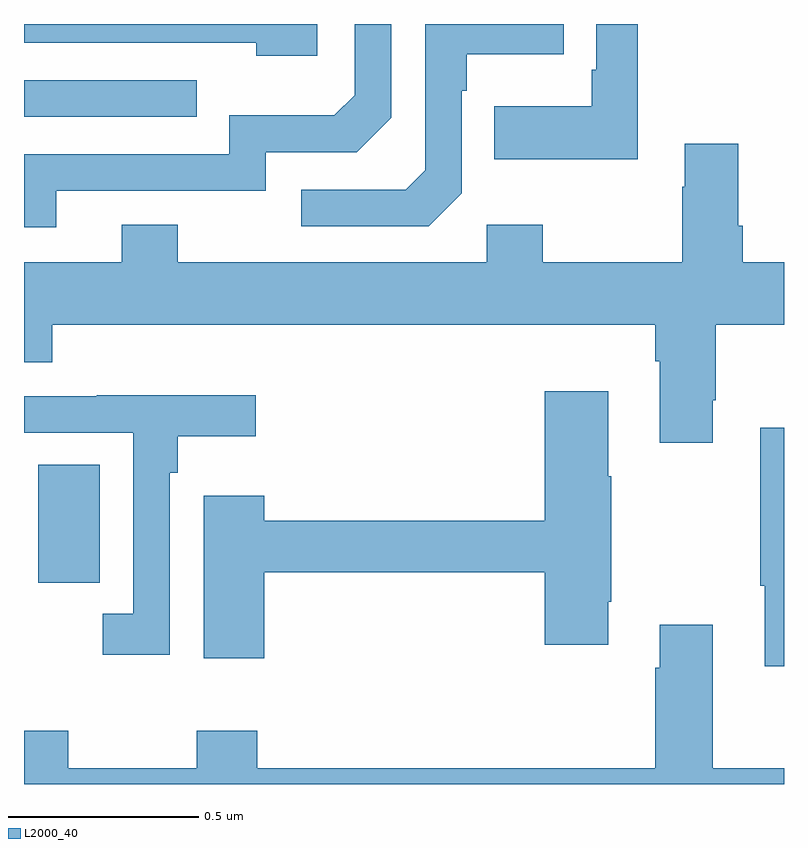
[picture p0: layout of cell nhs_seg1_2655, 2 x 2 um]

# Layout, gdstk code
import gdstk
lib = gdstk.Library(unit=1e-6, precision=1e-09)
def R(c, l, rs):  # rectangles x0, y0, x1, y1
    for r in rs: c.add(gdstk.rectangle(r[:2], r[2:], *l))
def P(c, l, *ps):  # polygons
    for p in ps: c.add(gdstk.Polygon(p, *l))
L2000_40 = (2000, 40)

nhs_seg1_2655 = lib.new_cell('nhs_seg1_2655')
R(nhs_seg1_2655, L2000_40, [(144.038,541.728,144.199,542.039), (144,542.955,144.455,543.051)])
P(nhs_seg1_2655, L2000_40, [(145.152,542.754),(145.152,543.023),(145.165,543.023),(145.165,543.119),(145.421,543.119),(145.421,543.199),(145.056,543.199),(145.056,542.814),(145.005,542.763),(144.729,542.763),(144.729,542.667),(145.065,542.667)],
  [(144.085,542.76),(144.636,542.76),(144.636,542.862),(144.876,542.862),(144.966,542.952),(144.966,543.199),(144.87,543.199),(144.87,543.012),(144.817,542.959),(144.54,542.959),(144.54,542.856),(144,542.856),(144,542.664),(144.085,542.664)],
  [(145.615,543.199),(145.506,543.199),(145.506,543.079),(145.494,543.079),(145.494,542.983),(145.237,542.983),(145.237,542.843),(145.615,542.843)],
  [(144.772,543.199),(144,543.199),(144,543.15),(144.611,543.15),(144.611,543.116),(144.772,543.116)],
  [(145.365,542.671),(145.218,542.671),(145.218,542.572),(144.405,542.572),(144.405,542.671),(144.257,542.671),(144.257,542.572),(144,542.572),(144,542.309),(144.074,542.309),(144.074,542.408),(145.661,542.408),(145.661,542.312),(145.673,542.312),(145.673,542.097),(145.813,542.097),(145.813,542.209),(145.821,542.209),(145.821,542.408),(146,542.408),(146,542.572),(145.892,542.572),(145.892,542.668),(145.879,542.668),(145.879,542.884),(145.739,542.884),(145.739,542.771),(145.732,542.771),(145.732,542.572),(145.365,542.572)],
  [(144.632,541.756),(145.37,541.756),(145.37,541.566),(145.537,541.566),(145.537,541.678),(145.545,541.678),(145.545,542.009),(145.537,542.009),(145.537,542.233),(145.37,542.233),(145.37,541.892),(144.632,541.892),(144.632,541.957),(144.473,541.957),(144.473,541.53),(144.632,541.53)],
  [(144.384,542.018),(144.404,542.018),(144.404,542.114),(144.61,542.114),(144.61,542.222),(144.191,542.222),(144.191,542.22),(144,542.22),(144,542.124),(144.288,542.124),(144.288,541.647),(144.207,541.647),(144.207,541.539),(144.384,541.539)],
  [(146,542.137),(145.938,542.137),(145.938,541.721),(145.949,541.721),(145.949,541.509),(146,541.509)],
  [(146,541.24),(145.813,541.24),(145.813,541.618),(145.673,541.618),(145.673,541.505),(145.661,541.505),(145.661,541.24),(144.614,541.24),(144.614,541.339),(144.454,541.339),(144.454,541.24),(144.117,541.24),(144.117,541.339),(144,541.339),(144,541.199),(146,541.199)])

lib.write_gds('nhs_seg1_2655.gds')
